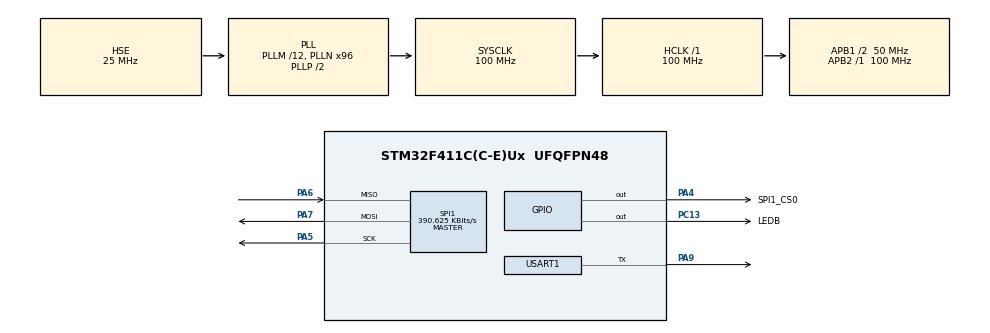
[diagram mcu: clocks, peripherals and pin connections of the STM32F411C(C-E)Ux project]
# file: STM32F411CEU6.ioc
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FREERTOS.BinarySemaphores01=uartReadySem,Dynamic,NULL,Available
FREERTOS.Events01=w25qxxEvent,Dynamic,NULL
FREERTOS.HEAP_NUMBER=1
FREERTOS.INCLUDE_pcTaskGetTaskName=1
FREERTOS.INCLUDE_uxTaskGetStackHighWaterMark2=1
FREERTOS.INCLUDE_vTaskCleanUpResources=1
FREERTOS.INCLUDE_vTaskDelete=1
FREERTOS.INCLUDE_xEventGroupSetBitFromISR=1
FREERTOS.INCLUDE_xSemaphoreGetMutexHolder=1
FREERTOS.INCLUDE_xTaskAbortDelay=1
FREERTOS.INCLUDE_xTaskGetHandle=1
FREERTOS.INCLUDE_xTimerPendFunctionCall=1
FREERTOS.Queues01=msgQueue,10,msg_t,0,Dynamic,NULL,NULL
FREERTOS.Tasks01=blinkTask,22,64,BlinkStart,Default,NULL,Dynamic,NULL,NULL;w25qxxTask,24,512,w25qxxStart,Default,NULL,Dynamic,NULL,NULL;traceTask,23,512,TraceStart,Default,NULL,Dynamic,NULL,NULL
FREERTOS.configENABLE_BACKWARD_COMPATIBILITY=0
FREERTOS.configENABLE_FPU=1
FREERTOS.configMINIMAL_STACK_SIZE=64
FREERTOS.configQUEUE_REGISTRY_SIZE=32
FREERTOS.configRECORD_STACK_HIGH_ADDRESS=1
FREERTOS.configUSE_APPLICATION_TASK_TAG=1
FREERTOS.configUSE_OS2_TIMER=0
Mcu.Family=STM32F4
Mcu.Name=STM32F411C(C-E)Ux
Mcu.Package=UFQFPN48
NVIC.PriorityGroup=NVIC_PRIORITYGROUP_4
NVIC.TIM1_TRG_COM_TIM11_IRQn=true\:15\:0\:false\:false\:true\:false\:false\:true\:true
NVIC.TimeBase=TIM1_TRG_COM_TIM11_IRQn
NVIC.TimeBaseIP=TIM11
NVIC.USART1_IRQn=true\:5\:0\:false\:false\:true\:true\:true\:true\:true
PA13.Mode=Trace_Asynchronous_SW
PA13.Signal=SYS_JTMS-SWDIO
PA14.Mode=Trace_Asynchronous_SW
PA14.Signal=SYS_JTCK-SWCLK
PA4.GPIO_Label=SPI1_CS0
PA4.GPIO_ModeDefaultOutputPP=GPIO_MODE_OUTPUT_PP
PA4.GPIO_PuPd=GPIO_NOPULL
PA4.GPIO_Speed=GPIO_SPEED_FREQ_VERY_HIGH
PA4.PinState=GPIO_PIN_SET
PA4.Signal=GPIO_Output
PA5.Mode=Full_Duplex_Master
PA5.Signal=SPI1_SCK
PA6.Mode=Full_Duplex_Master
PA6.Signal=SPI1_MISO
PA7.Mode=Full_Duplex_Master
PA7.Signal=SPI1_MOSI
PA9.Mode=Half_duplex(single_wire_mode)
PA9.Signal=USART1_TX
PB3.Mode=Trace_Asynchronous_SW
PB3.Signal=SYS_JTDO-SWO
PC13-ANTI_TAMP.GPIO_Label=LEDB
PC13-ANTI_TAMP.GPIO_ModeDefaultOutputPP=GPIO_MODE_OUTPUT_OD
PC13-ANTI_TAMP.GPIO_PuPd=GPIO_NOPULL
PC13-ANTI_TAMP.PinState=GPIO_PIN_SET
PC13-ANTI_TAMP.Signal=GPIO_Output
PH0\ -\ OSC_IN.Mode=HSE-External-Oscillator
PH0\ -\ OSC_IN.Signal=RCC_OSC_IN
PH1\ -\ OSC_OUT.Mode=HSE-External-Oscillator
PH1\ -\ OSC_OUT.Signal=RCC_OSC_OUT
ProjectManager.HeapSize=0x200
ProjectManager.StackSize=0x400
ProjectManager.TargetToolchain=EWARM V8.50
RCC.48MHZClocksFreq_Value=50000000
RCC.AHBFreq_Value=100000000
RCC.APB1CLKDivider=RCC_HCLK_DIV2
RCC.APB1Freq_Value=50000000
RCC.APB1TimFreq_Value=100000000
RCC.APB2Freq_Value=100000000
RCC.APB2TimFreq_Value=100000000
RCC.CortexFreq_Value=100000000
RCC.EnbaleCSS=true
RCC.HCLKFreq_Value=100000000
RCC.HSE_VALUE=25000000
RCC.HSI_VALUE=16000000
RCC.LSE_VALUE=32768
RCC.PLLM=12
RCC.PLLN=96
RCC.PLLSourceVirtual=RCC_PLLSOURCE_HSE
RCC.SYSCLKFreq_VALUE=100000000
RCC.SYSCLKSource=RCC_SYSCLKSOURCE_PLLCLK
RCC.VCOOutputFreq_Value=200000000
SPI1.BaudRatePrescaler=SPI_BAUDRATEPRESCALER_256
SPI1.CalculateBaudRate=390.625 KBits/s
SPI1.Direction=SPI_DIRECTION_2LINES
SPI1.Mode=SPI_MODE_MASTER
SPI1.VirtualType=VM_MASTER
USART1.Mode=MODE_TX
USART1.VirtualMode=VM_ASYNC
VP_FREERTOS_VS_CMSIS_V2.Mode=CMSIS_V2
VP_SYS_VS_tim11.Mode=TIM11
board=custom

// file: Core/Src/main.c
/* USER CODE BEGIN Header */
/**
 ******************************************************************************
 * @file           : main.c
 * @brief          : Main program body
 ******************************************************************************
 * @attention
 *
 * Copyright (c) 2025 STMicroelectronics.
 * All rights reserved.
 *
 * This software is licensed under terms that can be found in the LICENSE file
 * in the root directory of this software component.
 * If no LICENSE file comes with this software, it is provided AS-IS.
 *
 ******************************************************************************
 */
/* USER CODE END Header */
#include "main.h"
#include "cmsis_os.h"
#include "gpio.h"
#include "spi.h"
#include "usart.h"

void SystemClock_Config(void);
void MX_FREERTOS_Init(void);

int main(void)
{

    /* MCU Configuration--------------------------------------------------------*/

    /* Reset of all peripherals, Initializes the Flash interface and the Systick. */
    HAL_Init();

    /* Configure the system clock */
    SystemClock_Config();

    /* Initialize all configured peripherals */
    MX_GPIO_Init();
    MX_SPI1_Init();
    MX_USART1_UART_Init();

    /* Init scheduler */
    osKernelInitialize(); /* Call init function for freertos objects (in cmsis_os2.c) */
    MX_FREERTOS_Init();

    /* Start scheduler */
    osKernelStart();

    /* We should never get here as control is now taken by the scheduler */

    /* Infinite loop */
    while (1)
    {

    }
}

void SystemClock_Config(void)
{
    RCC_OscInitTypeDef RCC_OscInitStruct = {0};
    RCC_ClkInitTypeDef RCC_ClkInitStruct = {0};

    /** Configure the main internal regulator output voltage
     */
    __HAL_RCC_PWR_CLK_ENABLE();
    __HAL_PWR_VOLTAGESCALING_CONFIG(PWR_REGULATOR_VOLTAGE_SCALE1);

    /** Initializes the RCC Oscillators according to the specified parameters
     * in the RCC_OscInitTypeDef structure.
     */
    RCC_OscInitStruct.OscillatorType = RCC_OSCILLATORTYPE_HSE;
    RCC_OscInitStruct.HSEState = RCC_HSE_ON;
    RCC_OscInitStruct.PLL.PLLState = RCC_PLL_ON;
    RCC_OscInitStruct.PLL.PLLSource = RCC_PLLSOURCE_HSE;
    RCC_OscInitStruct.PLL.PLLM = 12;
    RCC_OscInitStruct.PLL.PLLN = 96;
    RCC_OscInitStruct.PLL.PLLP = RCC_PLLP_DIV2;
    RCC_OscInitStruct.PLL.PLLQ = 4;
    if (HAL_RCC_OscConfig(&RCC_OscInitStruct) != HAL_OK)
        Error_Handler();

    /** Initializes the CPU, AHB and APB buses clocks
     */
    RCC_ClkInitStruct.ClockType = RCC_CLOCKTYPE_HCLK | RCC_CLOCKTYPE_SYSCLK | RCC_CLOCKTYPE_PCLK1 | RCC_CLOCKTYPE_PCLK2;
    RCC_ClkInitStruct.SYSCLKSource = RCC_SYSCLKSOURCE_PLLCLK;
    RCC_ClkInitStruct.AHBCLKDivider = RCC_SYSCLK_DIV1;
    RCC_ClkInitStruct.APB1CLKDivider = RCC_HCLK_DIV2;
    RCC_ClkInitStruct.APB2CLKDivider = RCC_HCLK_DIV1;

    if (HAL_RCC_ClockConfig(&RCC_ClkInitStruct, FLASH_LATENCY_3) != HAL_OK)
        Error_Handler();

    /** Enables the Clock Security System
     */
    HAL_RCC_EnableCSS();
}

void HAL_TIM_PeriodElapsedCallback(TIM_HandleTypeDef *htim)
{
    if (htim->Instance == TIM11)
        HAL_IncTick();
}

void Error_Handler(void)
{
    __disable_irq();
    while (1) {}
}

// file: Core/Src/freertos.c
/* USER CODE BEGIN Header */
/**
 ******************************************************************************
 * File Name          : freertos.c
 * Description        : Code for freertos applications
 ******************************************************************************
 * @attention
 *
 * Copyright (c) 2025 STMicroelectronics.
 * All rights reserved.
 *
 * This software is licensed under terms that can be found in the LICENSE file
 * in the root directory of this software component.
 * If no LICENSE file comes with this software, it is provided AS-IS.
 *
 ******************************************************************************
 */
/* USER CODE END Header */

#include "FreeRTOS.h"
#include "cmsis_os.h"
#include "main.h"
#include "task.h"

/* USER CODE BEGIN Includes */
#include "trace.h"
#include "w25qxx_Demo.h"
/* USER CODE END Includes */

/* USER CODE BEGIN PTD */
#define W25QXX_FLAG_IDLE  (1 << 0)
#define W25QXX_FLAG_BUSY  (1 << 1)
#define W25QXX_FLAG_ERASE (1 << 2)
/* USER CODE END PTD */

/* Definitions for blinkTask */
osThreadId_t blinkTaskHandle;
const osThreadAttr_t blinkTask_attributes = {
    .name = "blinkTask",
    .stack_size = 64 * 4,
    .priority = (osPriority_t) osPriorityBelowNormal6,
};
/* Definitions for w25qxxTask */
osThreadId_t w25qxxTaskHandle;
const osThreadAttr_t w25qxxTask_attributes = {
    .name = "w25qxxTask",
    .stack_size = 512 * 4,
    .priority = (osPriority_t) osPriorityNormal,
};
/* Definitions for traceTask */
osThreadId_t traceTaskHandle;
const osThreadAttr_t traceTask_attributes = {
    .name = "traceTask",
    .stack_size = 512 * 4,
    .priority = (osPriority_t) osPriorityBelowNormal7,
};
/* Definitions for msgQueue */
osMessageQueueId_t msgQueueHandle;
const osMessageQueueAttr_t msgQueue_attributes = {.name = "msgQueue"};
/* Definitions for uartReadySem */
osSemaphoreId_t uartReadySemHandle;
const osSemaphoreAttr_t uartReadySem_attributes = {.name = "uartReadySem"};
/* Definitions for w25qxxEvent */
osEventFlagsId_t w25qxxEventHandle;
const osEventFlagsAttr_t w25qxxEvent_attributes = {.name = "w25qxxEvent"};

void BlinkStart(void *argument);
void w25qxxStart(void *argument);
void TraceStart(void *argument);

void MX_FREERTOS_Init(void); /* (MISRA C 2004 rule 8.1) */

void MX_FREERTOS_Init(void)
{

    /* Create the semaphores(s) */
    /* creation of uartReadySem */
    uartReadySemHandle = osSemaphoreNew(1, 1, &uartReadySem_attributes);

    /* Create the queue(s) */
    /* creation of msgQueue */
    msgQueueHandle = osMessageQueueNew(10, sizeof(msg_t), &msgQueue_attributes);

    /* Create the thread(s) */
    /* creation of blinkTask */
    blinkTaskHandle = osThreadNew(BlinkStart, NULL, &blinkTask_attributes);

    /* creation of w25qxxTask */
    w25qxxTaskHandle = osThreadNew(w25qxxStart, NULL, &w25qxxTask_attributes);

    /* creation of traceTask */
    traceTaskHandle = osThreadNew(TraceStart, NULL, &traceTask_attributes);

    /* Create the event(s) */
    /* creation of w25qxxEvent */
    w25qxxEventHandle = osEventFlagsNew(&w25qxxEvent_attributes);

}

void BlinkStart(void *argument)
{
    /* USER CODE BEGIN BlinkStart */
    uint32_t flag;
    uint32_t blink_interval = 10;

    /* Infinite loop */
    for (;;)
    {
        flag = osEventFlagsWait(w25qxxEventHandle, W25QXX_FLAG_IDLE | W25QXX_FLAG_BUSY | W25QXX_FLAG_ERASE,
                                osFlagsWaitAny | osFlagsNoClear, osWaitForever);

        switch (flag)
        {
        case W25QXX_FLAG_IDLE:
            blink_interval = 5000;
            break;
        case W25QXX_FLAG_BUSY:
            blink_interval = 500;
            break;
        case W25QXX_FLAG_ERASE:
            blink_interval = 50;
            break;
        default:
            osEventFlagsClear(w25qxxEventHandle, 0xff); // Race condition potential
            printf("BlinkStart: few flags detected 0x%08x\n", flag);
        }

        HAL_GPIO_TogglePin(LEDB_GPIO_Port, LEDB_Pin);
        osDelay(blink_interval);
    }
    /* USER CODE END BlinkStart */
}

void w25qxxStart(void *argument)
{
    /* USER CODE BEGIN w25qxxStart */
    /* Infinite loop */
    for (;;)
    {
        w25qxx_Demo(Trace, true);
        osThreadSuspend(osThreadGetId());
    }
    /* USER CODE END w25qxxStart */
}

void TraceStart(void *argument)
{
    /* USER CODE BEGIN TraceStart */
    osStatus_t uartReadySemAcqStatus;
    osStatus_t msgQueueGetStatus;
    msg_t msg;

    /* Infinite loop */
    for (;;)
    {
        /* Wait until UART is ready - tx complete signal from uart ISR */
        uartReadySemAcqStatus = osSemaphoreAcquire(uartReadySemHandle, 100);
        if (uartReadySemAcqStatus != osOK)
        {
            printf("Error acquiring semaphore in TraceStart: %d\n", uartReadySemAcqStatus);
            continue;
        }

        /* Get message from queue to be printed */
        msgQueueGetStatus = osMessageQueueGet(msgQueueHandle, &msg, NULL, osWaitForever);
        if (msgQueueGetStatus != osOK)
        {
            printf("Error getting message from queue in TraceStart: %d\n", msgQueueGetStatus);
            continue;
        }
        else
            w25qxx_Print(msg.data);

        /* Clear event flags for blink task */
        osEventFlagsClear(w25qxxEventHandle, 0xff);
        if (strstr(msg.data, "erase"))
            osEventFlagsSet(w25qxxEventHandle, W25QXX_FLAG_ERASE);
        else if ((strstr(msg.data, "success")) || (strstr(msg.data, "exists")))
            osEventFlagsSet(w25qxxEventHandle, W25QXX_FLAG_IDLE);
        else
            osEventFlagsSet(w25qxxEventHandle, W25QXX_FLAG_BUSY);
    }
    /* USER CODE END TraceStart */
}
